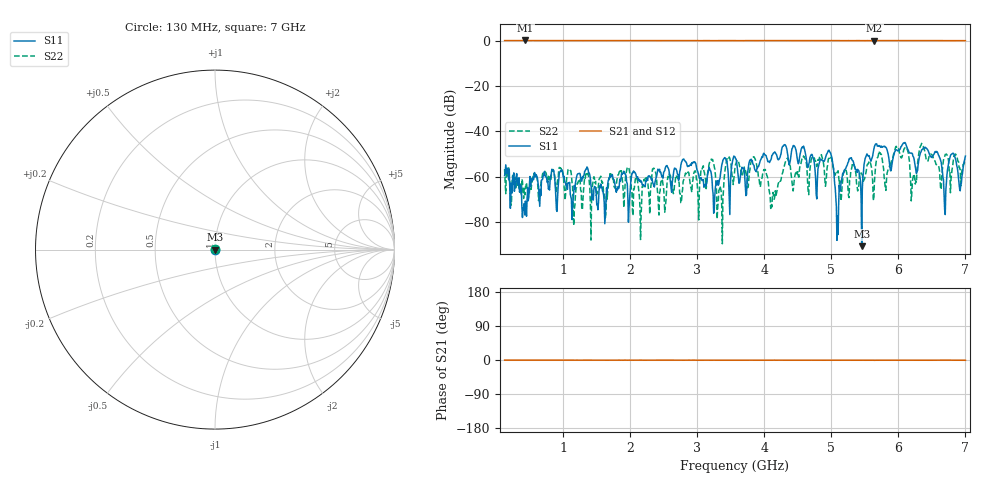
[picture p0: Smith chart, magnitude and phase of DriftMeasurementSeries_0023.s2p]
# Hz S RI R 50.000000
! Metas.Vna.Tools, 2.8.8664.20301
! Metas.Vna.Data, 2.8.8664.20285
! Created: UTC 2024.02.11 10:08:12
! FREQ  re:S1,1  im:S1,1  re:S2,1  im:S2,1  re:S1,2  im:S1,2  re:S2,2  im:S2,2
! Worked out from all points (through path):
!   801 points, 130 MHz to 7 GHz, reference 50 ohm
!   highest |S21| = 0.03 dB at 439.1 MHz (marker M1); lowest = -0.1 dB at 5.643 GHz (marker M2)
!   lowest |S11| = -90.5 dB at 5.454 GHz (marker M3), VSWR 1.00, Z = 50 + j0.00209 ohm
!   |S11| at or under -10 dB: start of sweep to end of sweep
!   |S22| runs from -89.5 to -45.3 dB; largest |S21 - S12| = 0.0096
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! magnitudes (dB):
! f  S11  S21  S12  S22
! 130 MHz  -59.5  0.0  0.0  -56.6
! 439.1 MHz  -70.7  0.0  0.0  -64.4
! 576.5 MHz  -58.1  0.0  0.0  -59.4
! 1.281 GHz  -61.9  0.0  0.0  -74.4
! 1.624 GHz  -80.6  0.0  0.0  -71.5
! 1.968 GHz  -69.5  0.0  0.0  -55.9
! 2.423 GHz  -57.3  0.0  0.0  -72.3
! 3.264 GHz  -67.9  0.0  0.0  -56.6
! 3.565 GHz  -51.2  0.0  0.0  -55.9
! 3.848 GHz  -55.0  0.0  0.0  -51.2
! 4.123 GHz  -50.4  0.0  0.0  -67.9
! 4.338 GHz  -47.9  0.0  0.0  -52.2
! 4.716 GHz  -50.2  0.0  0.0  -51.1
! 4.982 GHz  -49.1  0.0  0.0  -50.9
! 5.094 GHz  -77.2  0.0  0.0  -58.0
! 5.282 GHz  -51.7  0.0  0.0  -61.0
! 5.454 GHz  -90.5  0.0  0.0  -58.8
! 5.643 GHz  -46.7  -0.1  0.0  -62.5
! 5.858 GHz  -51.6  0.0  0.0  -55.9
! 6.571 GHz  -48.8  0.0  0.0  -54.6
! 6.691 GHz  -74.5  0.0  0.0  -51.0
! 7 GHz  -50.9  -0.1  0.0  -53.1
